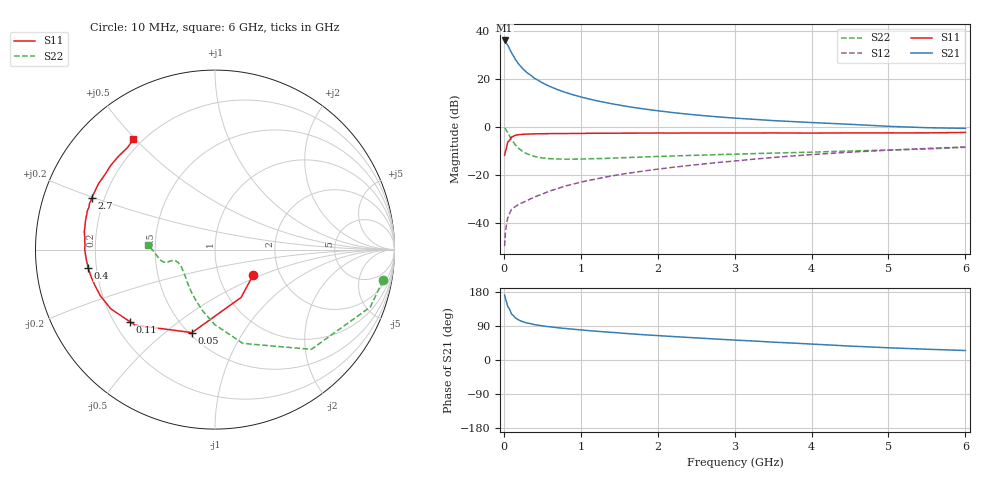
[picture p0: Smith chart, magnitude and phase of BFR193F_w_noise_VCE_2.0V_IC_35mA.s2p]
! Infineon Technologies  Discrete & RF Semiconductors
! BFR193F
! VCE =  2.0 V,  IC =  35 mA
! Common Emitter S-Parameters:  Jan 2017
# GHz  S  MA  R  50
!  f  S11  S21  S12  S22
! GHz  MAG  ANG  MAG  ANG  MAG  ANG  MAG  ANG
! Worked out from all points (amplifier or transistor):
!   77 points, 10 MHz to 6 GHz, reference 50 ohm
!   highest |S21| = 36.1 dB at 10 MHz (marker M1)
!   |S21| within 3 dB of that: start of sweep to 66.9 MHz
!   unconditionally stable (mu >= 1): 916 MHz to 2.698 GHz
!   at 130 MHz: K = 0.43, MSG = 31.6 dB, |S12| = -33.8 dB
!   at 2.2 GHz: K = 1.02, MAG = 10.5 dB, |S12| = -16.9 dB
!   at 6 GHz: K = 0.89, MSG = 3.9 dB, |S12| = -8.4 dB
!   lowest NFmin = 1.26 dB at 450 MHz
!   S11 on the Smith chart (normalised r, x): 10 MHz: 1.46, -0.45; 50 MHz: 0.52, -0.62; 110 MHz: 0.26, -0.35; 400 MHz: 0.17, -0.07; 2.7 GHz: 0.15, +0.20; 6 GHz: 0.17, +0.49
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0.01  0.2554 -34.1  64.05 171.4  0.0032 85.5  0.9517 -10.4
0.02  0.3035 -61.3  61.73 162.5  0.006 76.7  0.9225 -20.3
0.05  0.48 -105.5  51.37 141.6  0.0124 61.5  0.7726 -46.0
0.1  0.6128 -136.6  35.21 121.3  0.0188 50.4  0.5456 -73.4
0.11  0.6208 -139.5  33.23 119.7  0.0193 50.0  0.5172 -76.1
0.15  0.6678 -150.4  25.68 111.1  0.0215 48.8  0.4185 -90.1
0.2  0.689 -158.1  19.93 104.9  0.0245 50.8  0.3477 -101.5
0.25  0.6982 -163.4  16.19 100.8  0.0263 51.4  0.3006 -111.0
0.3  0.7061 -167.2  13.64 97.7  0.0287 54.8  0.2736 -118.3
0.4  0.7141 -171.8  10.34 93.2  0.0342 58.0  0.2406 -129.5
0.5  0.7188 -175.3  8.328 90.1  0.0394 61.3  0.2239 -137.4
0.6  0.7223 -177.9  6.976 87.5  0.0457 63.8  0.2157 -143.5
0.7  0.7258 179.8  5.997 85.1  0.0513 65.6  0.2126 -147.8
0.9  0.728 176.2  4.684 81.2  0.0635 68.6  0.211 -154.5
1.1  0.7324 173.4  3.848 77.6  0.0758 69.8  0.2147 -158.2
1.6  0.7392 167.2  2.678 69.8  0.1064 71.1  0.2276 -164.0
2.1  0.7422 162.5  2.077 63.2  0.1365 71.2  0.2433 -165.5
2.7  0.7439 157.3  1.661 56.0  0.1742 70.2  0.2602 -165.6
3.1  0.7439 153.9  1.489 51.6  0.2001 69.2  0.2714 -165.2
4.1  0.7424 145.0  1.21 41.0  0.2693 64.7  0.2991 -167.3
5.1  0.7478 134.9  1.012 31.5  0.3306 58.8  0.3308 -175.6
6  0.7647 126.5  0.93 25.0  0.3793 53.3  0.3744 175.9
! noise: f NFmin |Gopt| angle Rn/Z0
0.45  1.26  0.42  178  0.06
0.9  1.35  0.44  178  0.07
1.9  1.9  0.58  -166  0.08
2.4  2.2  0.61  -157  0.12
